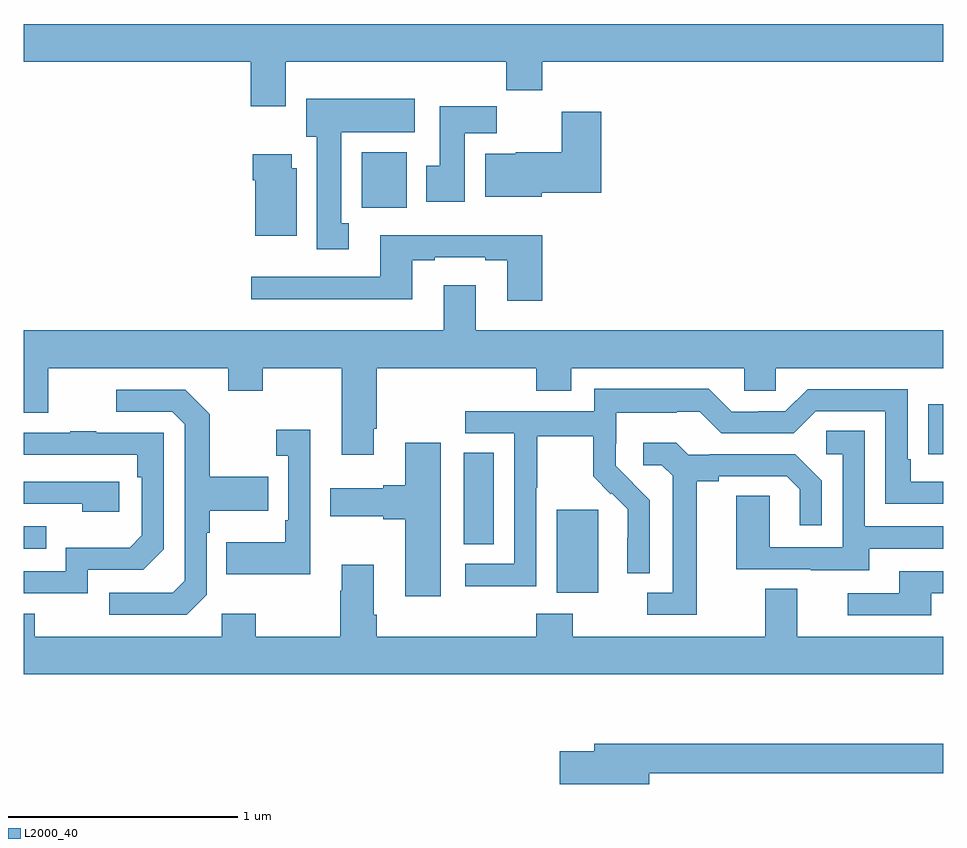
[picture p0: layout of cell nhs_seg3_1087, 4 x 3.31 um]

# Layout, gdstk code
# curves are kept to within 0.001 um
import gdstk
lib = gdstk.Library(unit=1e-6, precision=1e-09)
def R(c, l, rs):  # rectangles x0, y0, x1, y1
    for r in rs: c.add(gdstk.rectangle(r[:2], r[2:], *l))
def P(c, l, *ps):  # polygons
    for p in ps: c.add(gdstk.Polygon(p, *l))
L2000_40 = (2000, 40)

nhs_seg3_1087 = lib.new_cell('nhs_seg3_1087')
R(nhs_seg3_1087, L2000_40, [(169.319,705.266,169.498,705.627), (167,705.459,167.099,705.555), (168.914,705.478,169.045,705.875), (170.935,705.868,171,706.087), (168.47,706.94,168.667,707.182)])
P(nhs_seg3_1087, L2000_40, [(168.139,707.576),(169.099,707.576),(169.099,707.452),(169.256,707.452),(169.256,707.576),(171,707.576),(171,707.74),(167,707.74),(167,707.576),(167.987,707.576),(167.987,707.382),(168.139,707.382)],
  [(168.415,706.874),(168.382,706.874),(168.382,707.27),(168.7,707.27),(168.7,707.416),(168.23,707.416),(168.23,707.25),(168.275,707.25),(168.275,706.761),(168.415,706.761)],
  [(168.919,707.264),(169.058,707.264),(169.058,707.383),(168.809,707.383),(168.809,707.124),(168.752,707.124),(168.752,706.968),(168.919,706.968)],
  [(169.254,707.006),(169.511,707.006),(169.511,707.359),(169.34,707.359),(169.34,707.182),(169.14,707.182),(169.14,707.176),(169.007,707.176),(169.007,706.988),(169.254,706.988)],
  [(168.187,707.112),(168.166,707.112),(168.166,707.173),(167.996,707.173),(167.996,707.06),(168.008,707.06),(168.008,706.82),(168.187,706.82)],
  [(169.256,706.822),(168.551,706.822),(168.551,706.641),(167.991,706.641),(167.991,706.544),(168.691,706.544),(168.691,706.713),(168.787,706.713),(168.787,706.725),(169.007,706.725),(169.007,706.713),(169.103,706.713),(169.103,706.536),(169.256,706.536)],
  [(168.523,705.979),(168.536,705.979),(168.536,706.244),(169.229,706.244),(169.229,706.145),(169.381,706.145),(169.381,706.244),(170.133,706.244),(170.133,706.146),(170.271,706.146),(170.271,706.244),(171,706.244),(171,706.408),(168.967,706.408),(168.967,706.603),(168.827,706.603),(168.827,706.408),(167,706.408),(167,706.05),(167.107,706.05),(167.107,706.244),(167.891,706.244),(167.891,706.145),(168.039,706.145),(168.039,706.244),(168.383,706.244),(168.383,705.867),(168.523,705.867)],
  [(169.23,705.724),(169.233,705.724),(169.233,705.948),(169.477,705.948),(169.477,705.773),(169.554,705.696),(169.557,705.699),(169.628,705.629),(169.628,705.506),(169.626,705.506),(169.626,705.352),(169.722,705.352),(169.722,705.67),(169.576,705.818),(169.576,705.915),(169.578,705.915),(169.578,706.049),(169.841,706.049),(169.841,706.053),(169.941,706.053),(170.034,705.96),(170.349,705.96),(170.445,706.056),(170.748,706.056),(170.748,705.654),(171,705.654),(171,705.75),(170.857,705.75),(170.857,705.847),(170.844,705.847),(170.844,706.152),(170.409,706.152),(170.313,706.056),(170.195,706.056),(170.195,706.053),(170.079,706.053),(169.979,706.153),(169.482,706.153),(169.482,706.056),(168.921,706.056),(168.921,705.96),(169.134,705.96),(169.134,705.393),(168.921,705.393),(168.921,705.295),(169.23,705.295)],
  [(167.796,705.258),(167.796,705.527),(167.809,705.527),(167.809,705.623),(168.065,705.623),(168.065,705.771),(167.809,705.771),(167.809,706.043),(167.703,706.149),(167.403,706.149),(167.403,706.053),(167.646,706.053),(167.7,705.999),(167.7,705.318),(167.649,705.267),(167.373,705.267),(167.373,705.171),(167.709,705.171)],
  [(168.246,705.976),(168.099,705.976),(168.099,705.863),(168.15,705.863),(168.15,705.583),(168.138,705.583),(168.138,705.487),(167.881,705.487),(167.881,705.347),(168.246,705.347)],
  [(170.677,705.459),(171,705.459),(171,705.555),(170.658,705.555),(170.658,705.971),(170.49,705.971),(170.49,705.87),(170.562,705.87),(170.562,705.465),(170.244,705.465),(170.244,705.689),(170.099,705.689),(170.099,705.369),(170.423,705.369),(170.423,705.365),(170.677,705.365)],
  [(167.28,705.366),(167.52,705.366),(167.61,705.456),(167.61,705.963),(167.315,705.963),(167.315,705.968),(167.203,705.968),(167.203,705.963),(167,705.963),(167,705.867),(167.494,705.867),(167.494,705.77),(167.514,705.77),(167.514,705.516),(167.461,705.463),(167.184,705.463),(167.184,705.36),(167,705.36),(167,705.264),(167.28,705.264)],
  [(169.927,705.752),(170.023,705.752),(170.023,705.774),(170.318,705.774),(170.375,705.717),(170.375,705.561),(170.472,705.561),(170.472,705.754),(170.356,705.87),(169.984,705.87),(169.984,705.867),(169.89,705.867),(169.838,705.919),(169.695,705.919),(169.695,705.822),(169.776,705.822),(169.823,705.775),(169.823,705.267),(169.713,705.267),(169.713,705.171),(169.927,705.171)],
  [(168.814,705.919),(168.659,705.919),(168.659,705.734),(168.563,705.734),(168.563,705.721),(168.333,705.721),(168.333,705.599),(168.563,705.599),(168.563,705.587),(168.659,705.587),(168.659,705.252),(168.814,705.252)],
  [(167.416,705.75),(167,705.75),(167,705.654),(167.255,705.654),(167.255,705.62),(167.416,705.62)],
  [(170.947,705.264),(171,705.264),(171,705.36),(170.807,705.36),(170.807,705.264),(170.583,705.264),(170.583,705.168),(170.947,705.168)],
  [(170.225,705.284),(170.225,705.076),(169.389,705.076),(169.389,705.175),(169.229,705.175),(169.229,705.076),(168.536,705.076),(168.536,705.172),(168.523,705.172),(168.523,705.388),(168.383,705.388),(168.383,705.275),(168.376,705.275),(168.376,705.076),(168.009,705.076),(168.009,705.175),(167.862,705.175),(167.862,705.076),(167.049,705.076),(167.049,705.175),(167,705.175),(167,704.912),(171,704.912),(171,705.076),(170.365,705.076),(170.365,705.284)],
  [(169.72,704.482),(171,704.482),(171,704.611),(169.481,704.611),(169.481,704.577),(169.332,704.577),(169.332,704.435),(169.72,704.435)])

lib.write_gds('nhs_seg3_1087.gds')
